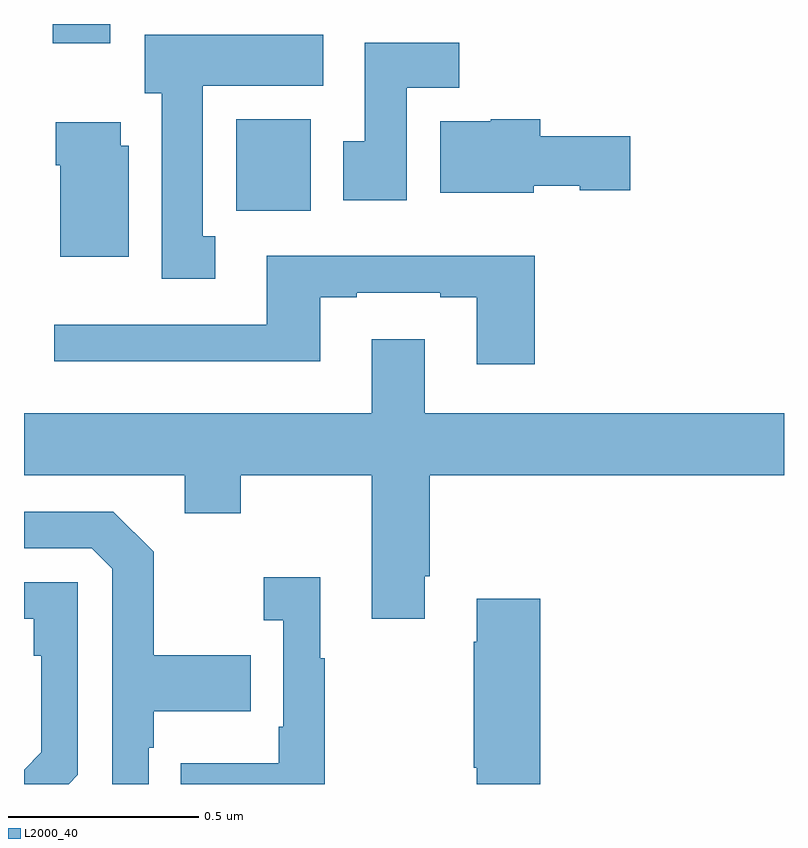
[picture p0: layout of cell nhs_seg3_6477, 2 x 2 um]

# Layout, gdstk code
import gdstk
lib = gdstk.Library(unit=1e-6, precision=1e-09)
def R(c, l, rs):  # rectangles x0, y0, x1, y1
    for r in rs: c.add(gdstk.rectangle(r[:2], r[2:], *l))
def P(c, l, *ps):  # polygons
    for p in ps: c.add(gdstk.Polygon(p, *l))
L2000_40 = (2000, 40)

nhs_seg3_6477 = lib.new_cell('nhs_seg3_6477')
R(nhs_seg3_6477, L2000_40, [(191.558,738.908,191.755,739.15), (191.075,739.35,191.227,739.4)])
P(nhs_seg3_6477, L2000_40, [(191.503,738.842),(191.47,738.842),(191.47,739.238),(191.788,739.238),(191.788,739.372),(191.318,739.372),(191.318,739.218),(191.363,739.218),(191.363,738.729),(191.503,738.729)],
  [(192.007,739.232),(192.146,739.232),(192.146,739.351),(191.897,739.351),(191.897,739.092),(191.84,739.092),(191.84,738.936),(192.007,738.936)],
  [(192.342,738.974),(192.462,738.974),(192.462,738.962),(192.595,738.962),(192.595,739.104),(192.359,739.104),(192.359,739.15),(192.228,739.15),(192.228,739.144),(192.095,739.144),(192.095,738.956),(192.342,738.956)],
  [(191.275,739.08),(191.254,739.08),(191.254,739.141),(191.084,739.141),(191.084,739.028),(191.096,739.028),(191.096,738.788),(191.275,738.788)],
  [(192.344,738.79),(191.639,738.79),(191.639,738.609),(191.079,738.609),(191.079,738.512),(191.779,738.512),(191.779,738.681),(191.875,738.681),(191.875,738.693),(192.095,738.693),(192.095,738.681),(192.191,738.681),(192.191,738.504),(192.344,738.504)],
  [(192.055,737.947),(192.068,737.947),(192.068,738.212),(193,738.212),(193,738.376),(192.055,738.376),(192.055,738.571),(191.915,738.571),(191.915,738.376),(191,738.376),(191,738.212),(191.423,738.212),(191.423,738.113),(191.571,738.113),(191.571,738.212),(191.915,738.212),(191.915,737.835),(192.055,737.835)],
  [(191.328,737.495),(191.341,737.495),(191.341,737.591),(191.597,737.591),(191.597,737.739),(191.341,737.739),(191.341,738.011),(191.235,738.117),(191,738.117),(191,738.021),(191.178,738.021),(191.232,737.967),(191.232,737.4),(191.328,737.4)],
  [(191.791,737.731),(191.779,737.731),(191.779,737.944),(191.631,737.944),(191.631,737.831),(191.682,737.831),(191.682,737.551),(191.67,737.551),(191.67,737.455),(191.413,737.455),(191.413,737.4),(191.791,737.4)],
  [(191.142,737.424),(191.142,737.931),(191,737.931),(191,737.835),(191.026,737.835),(191.026,737.738),(191.046,737.738),(191.046,737.484),(191,737.438),(191,737.4),(191.118,737.4)],
  [(192.359,737.887),(192.191,737.887),(192.191,737.774),(192.184,737.774),(192.184,737.443),(192.191,737.443),(192.191,737.4),(192.359,737.4)])

lib.write_gds('nhs_seg3_6477.gds')
